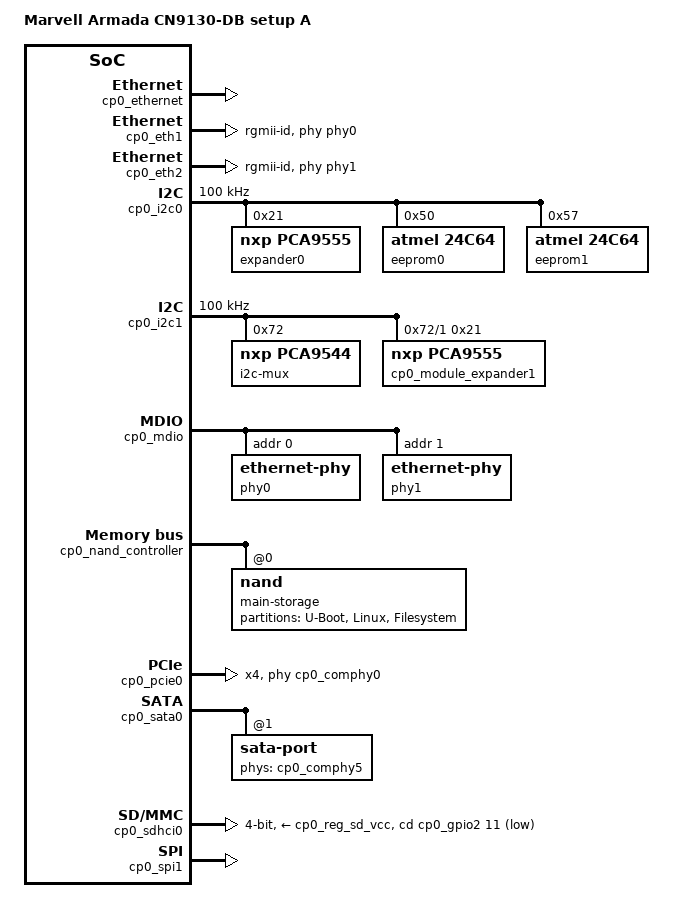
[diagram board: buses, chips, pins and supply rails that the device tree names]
// SPDX-License-Identifier: (GPL-2.0+ OR MIT)
/*
 * Copyright (C) 2019 Marvell International Ltd.
 *
 * Device tree for the CN9130-DB board.
 */

#include "cn9130-db.dtsi"

/ {
	model = "Marvell Armada CN9130-DB setup A";
};

&cp0_crypto {
	status = "disabled";
};

&cp0_ethernet {
	status = "okay";
};

/* SLM-1521-V2, CON9 */
&cp0_eth0 {
	status = "disabled";
	phy-mode = "10gbase-kr";
	/* Generic PHY, providing serdes lanes */
	phys = <&cp0_comphy4 0>;
	managed = "in-band-status";
	sfp = <&cp0_sfp_eth0>;
};

/* CON56 */
&cp0_eth1 {
	status = "okay";
	phy = <&phy0>;
	phy-mode = "rgmii-id";
};

/* CON57 */
&cp0_eth2 {
	status = "okay";
	phy = <&phy1>;
	phy-mode = "rgmii-id";
};

&cp0_gpio1 {
	status = "okay";
};

&cp0_gpio2 {
	status = "okay";
};

&cp0_i2c0 {
	status = "okay";
	pinctrl-names = "default";
	pinctrl-0 = <&cp0_i2c0_pins>;
	clock-frequency = <100000>;

	/* U36 */
	expander0: pca953x@21 {
		compatible = "nxp,pca9555";
		pinctrl-names = "default";
		gpio-controller;
		#gpio-cells = <2>;
		reg = <0x21>;
		status = "okay";
	};

	/* U42 */
	eeprom0: eeprom@50 {
		compatible = "atmel,24c64";
		reg = <0x50>;
		pagesize = <0x20>;
	};

	/* U38 */
	eeprom1: eeprom@57 {
		compatible = "atmel,24c64";
		reg = <0x57>;
		pagesize = <0x20>;
	};
};

&cp0_i2c1 {
	status = "okay";
	clock-frequency = <100000>;

	/* SLM-1521-V2 - U3 */
	i2c-mux@72 { /* verify address - depends on dpr */
		compatible = "nxp,pca9544";
		#address-cells = <1>;
		#size-cells = <0>;
		reg = <0x72>;
		cp0_sfpp0_i2c: i2c@0 {
			#address-cells = <1>;
			#size-cells = <0>;
			reg = <0>;
		};

		i2c@1 {
			#address-cells = <1>;
			#size-cells = <0>;
			reg = <1>;
			/* U12 */
			cp0_module_expander1: pca9555@21 {
				compatible = "nxp,pca9555";
				pinctrl-names = "default";
				gpio-controller;
				#gpio-cells = <2>;
				reg = <0x21>;
			};

		};
	};
};

&cp0_mdio {
	status = "okay";

	phy0: ethernet-phy@0 {
		reg = <0>;
	};

	phy1: ethernet-phy@1 {
		reg = <1>;
	};
};

/* U54 */
&cp0_nand_controller {
	pinctrl-names = "default";
	pinctrl-0 = <&nand_pins &nand_rb>;

	nand@0 {
		reg = <0>;
		label = "main-storage";
		nand-rb = <0>;
		nand-ecc-mode = "hw";
		nand-on-flash-bbt;
		nand-ecc-strength = <8>;
		nand-ecc-step-size = <512>;

		partitions {
			compatible = "fixed-partitions";
			#address-cells = <1>;
			#size-cells = <1>;

			partition@0 {
				label = "U-Boot";
				reg = <0 0x200000>;
			};
			partition@200000 {
				label = "Linux";
				reg = <0x200000 0xe00000>;
			};
			partition@1000000 {
				label = "Filesystem";
				reg = <0x1000000 0x3f000000>;
			};
		};
	};
};

/* SLM-1521-V2, CON6 */
&cp0_pcie0 {
	status = "okay";
	num-lanes = <4>;
	num-viewport = <8>;
	/* Generic PHY, providing serdes lanes */
	phys = <&cp0_comphy0 0
		&cp0_comphy1 0
		&cp0_comphy2 0
		&cp0_comphy3 0>;
};

&cp0_sata0 {
	status = "okay";

	/* SLM-1521-V2, CON2 */
	sata-port@1 {
		status = "okay";
		/* Generic PHY, providing serdes lanes */
		phys = <&cp0_comphy5 1>;
	};
};

/* CON 28 */
&cp0_sdhci0 {
	status = "okay";
	pinctrl-names = "default";
	pinctrl-0 = <&cp0_sdhci_pins
		     &cp0_sdhci_cd_pins>;
	bus-width = <4>;
	cd-gpios = <&cp0_gpio2 11 GPIO_ACTIVE_LOW>;
	no-1-8-v;
	vqmmc-supply = <&cp0_reg_sd_vccq>;
	vmmc-supply = <&cp0_reg_sd_vcc>;
};

&cp0_spi1 {
	status = "okay";
};

